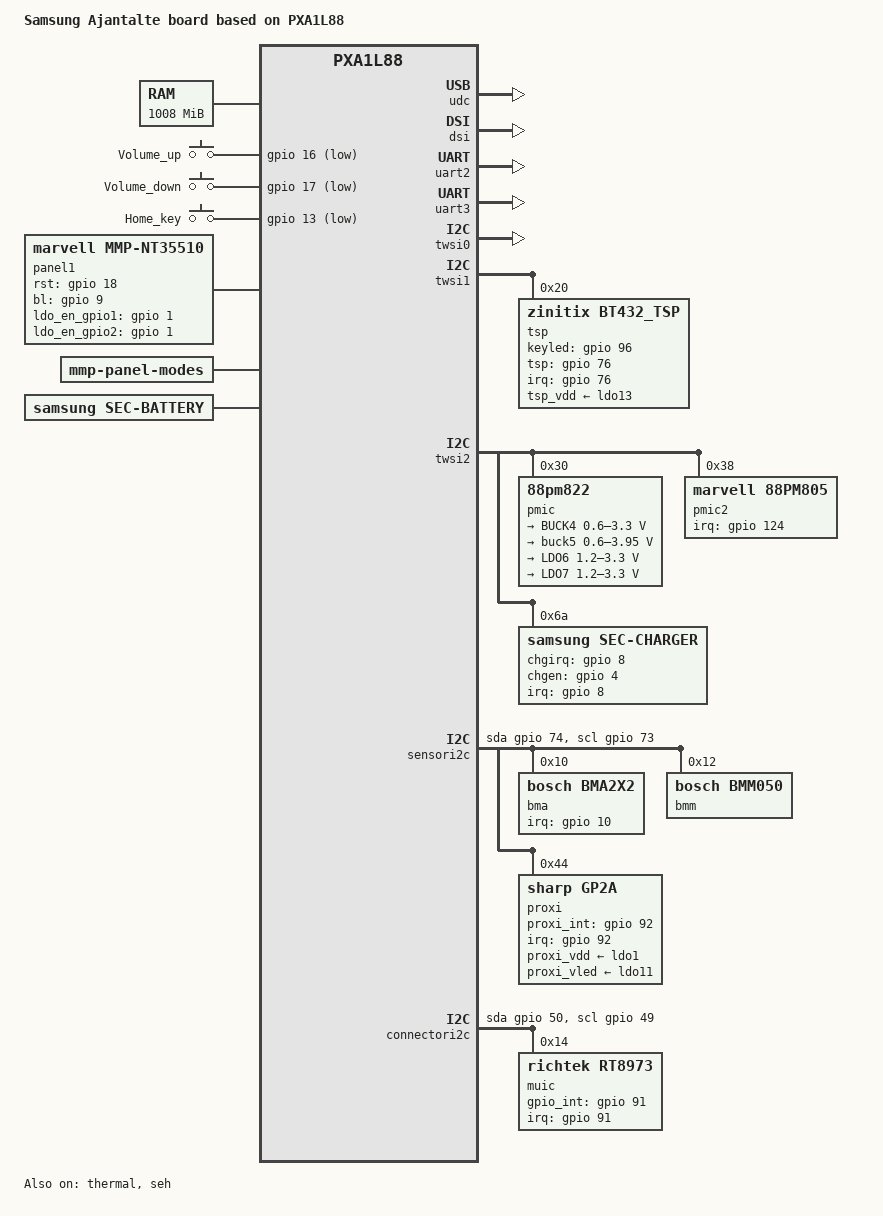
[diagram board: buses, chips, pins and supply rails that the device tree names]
/* arch/arm/boot/dts/pxall88-ajantalte-r02.dts
 * Copyright (C) 2014 Samsung Electronics Co, Ltd.
 *
 * Based on arch/arm/boot/dts/pxa1L88dkb.dts
 * Author: Shankar Bandal <shankar.b@samsung.com>
 *
 * This software is licensed under the terms of the GNU General Public
 * License version 2, as published by the Free Software Foundation,
 * and may be copied, distributed, and modified under those terms.
 *
 * This program is distributed in the hope that it will be useful,
 * but WITHOUT ANY WARRANTY; without even the implied warranty of
 * MERCHANTABILITY or FITNESS FOR A PARTICULAR PURPOSE. See the
 * GNU General Public License for more details.
 */

/dts-v1/;
/memreserve/ 0x09000000 0x01000000;	/* ION (16MB)*/

#include "sec-pxa1x88-pinfunc.h"
#include "pxa1088.dtsi"
#include "sec-machtypes.h"
#include <dt-bindings/gpio/gpio.h>
#include <dt-bindings/interrupt-controller/irq.h>
#include <dt-bindings/mmc/pxa_sdhci.h>

/ {
	model = "Samsung Ajantalte board based on PXA1L88";
	compatible = "mrvl,pxa1L88-sec", "mrvl,pxa1L88";
	pxa,rev-id = <MACH_TYPE_AJANTALTE 2>;

	aliases {
		i2c5 = &sensori2c;
		i2c7 = &connectori2c;
	};

	memory {
		/* Memory Banks
		 * Bank 1 : Base 0x01000000
		 *	    Size 496 MB
		 * Bank 2 : Base 0x20000000
		 *	    Size 512 MB
		 */
		reg = <0x01000000 0x1F000000 0x20000000 0x20000000>;
	};

	gpio-keys {
		compatible = "gpio-keys";
		#address-cells = <1>;
		#size-cells = <0>;
		pinctrl-names = "default";
		pinctrl-0 = <&gpio_keypad_func1 &gpio_keypad_func2>;
		status = "okay";

		volume-up {
			label = "Volume_up";
			gpios = <&gpio 16 GPIO_ACTIVE_LOW>;
			linux,code = <115>; /* KEY_VOLUMEUP */
			debounce-interval = <30>;
		};
		volume-down {
			label = "Volume_down";
			gpios = <&gpio 17 GPIO_ACTIVE_LOW>;
			linux,code = <114>;/* KEY_VOLUMEDOWN */
			debounce-interval = <30>;
		};
		home-key {
			label = "Home_key";
			gpios = <&gpio 13 GPIO_ACTIVE_LOW>;
			linux,code = <102>;/* HOME_KEY */
			debounce-interval = <30>;
			gpio-key,wakeup;
		};
	};

	soc {
		ddr@c0100000 {  /* DDR memory controller */
			status = "okay";
		};

		disp_clk_parent { /* Parent clock for disp */
			clock-name = "pll1_624";
		};

		axi@d4200000 {	/* AXI */
			coda7542: coda7542@d420d000 {
				marvell,sram-internal = <1>;
				marvell,nv21_support = <1>;
				status = "okay";
			};

			usbphy: usbphy@d4207000 {
				status = "okay";
			};

			udc: udc@d4208100 {
				status = "okay";
			};

			dsi: dsi@d420b800 {
				marvell,phy-name = "mmp_dsi1";
				marvell,plat-path-name = "mmp_pnpath";
				marvell,dsi-lanes = <2>;
				marvell,burst-mode = <2>;
				marvell,hbp-en;
				marvell,hfp-en;
				status = "okay";
			};

			disp: disp@d420b000 {
				marvell,disp-name = "disp_name";
				marvell,path-num = <2>;
				marvell,master-path = "mmp_pnpath";
				marvell,slave-path = "mmp_tvpath";
				status = "okay";
				path1 {
					marvell,path-name = "mmp_pnpath";
					marvell,overlay-num = <2>;
					marvell,overlay-table = <0>, <1>;
					marvell,output-type = <1>;
					marvell,path-config = <0x10>;
					marvell,link-config = <0x1>;

				};
				path2 {
					marvell,path-name = "mmp_tvpath";
					marvell,overlay-num = <2>;
					marvell,overlay-table = <2>, <3>;
					marvell,output-type = <1>;
					marvell,path-config = <0x10>;
					marvell,link-config = <0x1>;

				};
			};

			fb0: fbbase {
				marvell,fb-name = "mmp-fb";
				marvell,path-name = "mmp_pnpath";
				marvell,overlay-id = <1>;
				marvell,default-pixfmt = <0x108>;
				marvell,buffer-num = <3>;
				marvell,fb-mem = <0xb000000>;
				status = "okay";
			};

			fb1: fboverlay@0 {
				marvell,fb-name = "mmp-fb-overlay.0";
				marvell,path-name = "mmp_pnpath";
				marvell,overlay-id = <0>;
				status = "okay";
			};

			fb2: fboverlay@1 {
				marvell,fb-name = "mmp-fb-overlay.1";
				marvell,path-name = "mmp_tvpath";
				marvell,overlay-id = <3>;
				status = "okay";
			};

			fb3: fboverlay@2 {
				marvell,fb-name = "mmp-fb-overlay.2";
				marvell,path-name = "mmp_tvpath";
				marvell,overlay-id = <2>;
				status = "okay";
			};

			/* eMMC */
			sdh3: sdh@d4281000 {
				pinctrl-names = "default";
				pinctrl-0 = <&sdh3_pmx_func1 &sdh3_pmx_func2>;
				bus-width = <8>;
				non-removable;
				marvell,sdh-pm-runtime-en;
				marvell,sdh-quirks = <(
						SDHCI_QUIRK_BROKEN_ADMA |
						SDHCI_QUIRK_BROKEN_CARD_DETECTION
						)>;
				marvell,sdh-quirks2 = <(SDHCI_QUIRK2_BUS_CLK_GATE_ENABLED)>;
				marvell,sdh-host-caps = <(MMC_CAP_1_8V_DDR)>;
				marvell,sdh-host-caps2 = <(MMC_CAP2_DISABLE_BLK_ASYNC)>;
				marvell,sdh-flags = <(
						PXA_FLAG_SD_8_BIT_CAPABLE_SLOT |
						PXA_FLAG_ENABLE_CLOCK_GATING |
						PXA_FLAG_TX_SEL_BUS_CLK
					      )>;
				/* prop "sdh-dtr-data": <timing preset_rate src_rate tx_delay rx_delay> */
				marvell,sdh-dtr-data = <PXA_MMC_TIMING_LEGACY PXA_SDH_DTR_26M PXA_SDH_DTR_104M 0 0>,
						<PXA_MMC_TIMING_MMC_HS PXA_SDH_DTR_52M PXA_SDH_DTR_104M 0 0>,
						<PXA_MMC_TIMING_UHS_DDR50 PXA_SDH_DTR_52M PXA_SDH_DTR_104M 0 0>,
						<PXA_MMC_TIMING_MAX PXA_SDH_DTR_PS_NONE PXA_SDH_DTR_104M 0 0>;
				status = "okay";
			};

			/* SD card */
			sdh1: sdh@d4280000 {
				pinctrl-names = "default";
				pinctrl-0 = <&sdh1_pmx_func1 &sdh1_pmx_func2 &sdh1_pmx_func3 &sdh1_pmx_func4>;
				/*vqmmc-supply	= <&ldo3>;*/
				vmmc-supply	= <&ldo4>;
				cd-gpios = <&gpio 90 0>;
				cd-inverted;
				bus-width = <4>;
				wp-inverted;
				marvell,sdh-pm-runtime-en;
				marvell,sdh-host-caps-disable = <(MMC_CAP_UHS_SDR104)>;
				marvell,sdh-quirks = <(
						SDHCI_QUIRK_INVERTED_WRITE_PROTECT |
						SDHCI_QUIRK_BROKEN_CARD_DETECTION
						)>;
				marvell,sdh-quirks2 = <(SDHCI_QUIRK2_BUS_CLK_GATE_ENABLED)>;
				marvell,sdh-flags = <(
						PXA_FLAG_TX_SEL_BUS_CLK |
						PXA_FLAG_ENABLE_CLOCK_GATING
					      )>;
				/* prop "sdh-dtr-data": <timing preset_rate src_rate tx_delay rx_delay> */
				marvell,sdh-dtr-data = <PXA_MMC_TIMING_LEGACY PXA_SDH_DTR_26M PXA_SDH_DTR_104M 0 0>,
						<PXA_MMC_TIMING_SD_HS PXA_SDH_DTR_52M PXA_SDH_DTR_104M 0 0>,
						<PXA_MMC_TIMING_UHS_DDR50 PXA_SDH_DTR_52M PXA_SDH_DTR_104M 0 0>,
						<PXA_MMC_TIMING_MAX PXA_SDH_DTR_PS_NONE PXA_SDH_DTR_104M 0 0>;
				status = "disabled";
			};

			squ: squ@d42a0800 {
				compatible = "marvell,pxa910-squ";
				reg = <0xd42a0800 0x100>;
				interrupts = <0 46 0x4>;
				#dma-cells = <1>;
				asram = <&sram>;
			};

			vpu-devfreq {
				status = "okay";
			};
			geu: geu {
				status = "okay";
			};
		};

		apb@d4000000 {
			pdma0: pdma@d4000000 {
				status = "okay";
			};

			uart2: uart@d4017000 {
				pinctrl-names = "default", "sleep";
				pinctrl-0 = <&uart2_pmx_func1 &uart2_pmx_func2>;
				pinctrl-1 = <&uart2_pmx_func1_sleep &uart2_pmx_func2>;
				edge-wakeup-gpio = <47>; /* GPIO47: UART rx pin */
				status = "okay";
			};

			uart3: uart@d4018000 {
				pinctrl-names = "default";
				pinctrl-0 = <&uart3_pmx_func>;
				status = "okay";
			};

			edgewakeup: edgewakeup@d4019800 {
				status = "ok";
			};

			rtc: rtc@d4010000 {
				status = "okay";
			};

			thermal: thermal@d4013200 {
				compatible = "marvell,pxa-thermal";
				reg = <0xd4013200 0x50>;
				interrupts = <0 60 0x4>;
				trigger_levels_count = <4>;
				type = <2>;
				status = "ok";
			};

			watchdog: watchdog@d4080000 {
				status = "okay";
			};

			ssp_dai1: pxa-ssp-dai@1 {
				compatible = "mrvl,pxa-ssp-dai";
				reg = <0x1 0x0>;
				port = <&ssp1>;
				pinctrl-names = "default","ssp";
				pinctrl-0 = <&i2s_gpio>;
				pinctrl-1 = <&i2s_func>;
				ssp-gpio = <&gpio 21 0 &gpio 22 0 &gpio 23 0 &gpio 24 0>;
				dmas = <&squ 1
					&squ 0>;
				dma-names = "rx", "tx";
				asram = <&sram>;
				platform_driver_name = "tdma_platform";
				burst_size = <4>;
				playback_period_bytes = <4096>;
				playback_buffer_bytes = <20480>;
				capture_period_bytes = <4096>;
				capture_buffer_bytes = <20480>;
			};

			ssp_dai4: pxa-ssp-dai@4 {
				compatible = "mrvl,pxa-ssp-dai";
				reg = <0x4 0x0>;
				port = <&ssp4>;
				pinctrl-names = "default","ssp";
				pinctrl-0 = <&gssp_gpio>;
				pinctrl-1 = <&gssp_func>;
				ssp-gpio = <&gpio 25 0 &gpio 26 0 &gpio 27 0 &gpio 28 0>;
				dmas = <&pdma0 6 0
					&pdma0 7 0>;
				dma-names = "rx", "tx";
				platform_driver_name = "pdma_platform";
				burst_size = <8>;
				playback_period_bytes = <4096>;
				playback_buffer_bytes = <131072>;
				capture_period_bytes = <4096>;
				capture_buffer_bytes = <131072>;
			};

			gpio: gpio@d4019000 {
				status = "okay";
				/*
				 * In theorical, some gpios could be routed to
				 * multiple pins. So define the gpio-ranges in
				 * board file, not silicon file.
				 */
				gcb0: gpio@d4019000 {
					/* gpio offset, pin offset, nr pins */
					gpio-ranges = <&pmx 0 55 32>;
				};
				gcb1: gpio@d4019004 {
					gpio-ranges = <&pmx 0 87 23>;
				};
				gcb2: gpio@d4019008 {
					gpio-ranges = <&pmx 3 110 29>;
				};
				gcb3: gpio@d4019100 {
					gpio-ranges = <&pmx 0 139 3  &pmx 28 52 1>;
				};
			};

			pmx: pinmux@d401e000 {
				/* pin base, nr pins & gpio function */
				pinctrl-single,gpio-range = <
					/*
					 * GPIO number is hardcoded for range at here.
					 * In gpio chip, GPIO number is not hardcoded for range.
					 * Since one gpio pin may be routed to multiple pins,
					 * define these gpio range in pxa910-dkb.dts not pxa910.dtsi.
					 */
					&range 55 55 0	/* GPIO0 ~ GPIO54 */
					&range 110 32 0 /* GPIO67 ~ GPIO98 */
					&range 52 1 0	/* GPIO124 */
				>;

				/* MFP_PULL_UP | MFP_LPM_FLOAT */
				sdh1_pmx_func1: sdh1_pmx_func1 {
					pinctrl-single,pins = <
						MMC1_DAT7 AF0
						MMC1_DAT6 AF0
						MMC1_DAT5 AF0
						MMC1_DAT4 AF0
						MMC1_WP AF0
					>;
					DS_MEDIUM;PULL_UP;EDGE_NONE;LPM_FLOAT;
				};

				/* no pull, no LPM */
				sdh1_pmx_func2: sdh1_pmx_func2 {
					pinctrl-single,pins = <
						MMC1_DAT3 AF0
						MMC1_DAT2 AF0
						MMC1_DAT1 AF0
						MMC1_DAT0 AF0
						MMC1_CMD AF0
					>;
					MFP_DEFAULT;
				};

				/* MFP_LPM_DRIVE_LOW */
				sdh1_pmx_func3: sdh1_pmx_func3 {
					pinctrl-single,pins = <
						MMC1_CLK AF0
					>;
					MFP_LPM_DRIVE_LOW;
				};

				/* MFP_PULL_HIGH */
				sdh1_pmx_func4: sdh1_pmx_func4 {
					pinctrl-single,pins = <
						MMC1_CD AF0
					>;
					DS_MEDIUM;PULL_HIGH;EDGE_NONE;LPM_NONE;
				};

				/* no pull, no LPM */
				sdh3_pmx_func1: sdh3_pmx_func1 {
					pinctrl-single,pins = <
						ND_IO7 AF1
						ND_IO6 AF1
						ND_IO5 AF1
						ND_IO4 AF1
						ND_IO3 AF1
						ND_IO2 AF1
						ND_IO1 AF1
						ND_IO0 AF1
						ND_CLE_SM_OEN AF1
						SM_BEN0 AF2
					>;
					DS_MEDIUM;PULL_UP;EDGE_NONE;LPM_FLOAT;
				};

				/* MFP_LPM_DRIVE_LOW */
				sdh3_pmx_func2: sdh3_pmx_func2 {
					pinctrl-single,pins = <
						SM_SCLK AF1
					>;
					MFP_LPM_DRIVE_LOW;
				};


				uart2_pmx_func1: uart2_pmx_func1 {
					pinctrl-single,pins = <
						GPIO47 AF6
					>;
					MFP_PULL_UP;
				};

				uart2_pmx_func2: uart2_pmx_func2 {
					pinctrl-single,pins = <
						GPIO48 AF6
					>;
					MFP_PULL_UP;
				};

				uart2_pmx_func1_sleep: uart2_pmx_func1_sleep {
					pinctrl-single,pins = <
						GPIO47 AF6
					>;
					MFP_PULL_UP;
				};

				uart3_pmx_func: uart3_pmx_func {
					pinctrl-single,pins = <
						GPIO45 AF1
						GPIO46 AF1
					>;
					MFP_DEFAULT;
				};

				i2s_func: i2s_func {
					pinctrl-single,pins = <
						GPIO21 AF1
						GPIO22 AF1
						GPIO23 AF1
						GPIO24 AF1
					>;
					MFP_PULL_UP;

				};

				i2s_gpio: i2s_gpio {
					pinctrl-single,pins = <
						GPIO21 AF0
						GPIO22 AF0
						GPIO23 AF0
						GPIO24 AF0
					>;
					MFP_PULL_UP;
				};

				/* no pull, no LPM */
				dvc_pmx_func: dvc_pmx_func {
					pinctrl-single,pins = <
						GPIO43 AF6
						GPIO44 AF6
					>;
					MFP_DEFAULT;
				};

				gssp_func: gssp_func {
					pinctrl-single,pins = <
						GPIO25 AF1
						GPIO26 AF1
						GPIO27 AF1
						GPIO28 AF1
					>;
					MFP_PULL_UP;
				};

				gssp_gpio: gssp_gpio {
					pinctrl-single,pins = <
						GPIO25 AF0
						GPIO26 AF0
						GPIO27 AF0
						GPIO28 AF0
					>;
					MFP_PULL_UP;
				};

				/* MFP_LPM_FLOAT */
				lcd_pmx: lcd_pmx {
					pinctrl-single,pins = <
						GPIO9 AF0
						>;
					DS_MEDIUM;PULL_UP;EDGE_NONE;LPM_DRIVE_LOW;
				};

				lcd_pmx1: lcd_pmx1 {
					pinctrl-single,pins = <
						GPIO18 AF0
						>;
					DS_MEDIUM;PULL_FLOAT;EDGE_NONE;LPM_DRIVE_LOW;
				};

				lcd_pmx2: lcd_pmx2 {
					pinctrl-single,pins = <
						GPIO1 AF0
						>;
					DS_MEDIUM;PULL_UP;EDGE_NONE;LPM_DRIVE_HIGH;
				};

				twsi1_pmx_func: twsi1_pmx_func {
					pinctrl-single,pins = <
						GPIO87 AF5
						GPIO88 AF5
					>;
					DS_MEDIUM;PULL_UP;EDGE_NONE;LPM_FLOAT;
				};

				tsp_gpio_func1: tsp_gpio_func1 {
					pinctrl-single,pins = <
						GPIO96 AF0
					>;
					DS_MEDIUM;PULL_DOWN;EDGE_NONE;LPM_DRIVE_LOW;
				};

				tsp_gpio_func2: tsp_gpio_func2 {
					pinctrl-single,pins = <
						GPIO76 AF0
					>;
					DS_MEDIUM;PULL_UP;EDGE_NONE;LPM_DRIVE_LOW;
				};

				gpio_keypad_func1: gpio_keypad_func1 {
					pinctrl-single,pins = <
						GPIO13 AF0
					>;
					MFP_PULL_UP;
				};

				gpio_keypad_func2: gpio_keypad_func2 {
					pinctrl-single,pins = <
						GPIO16 AF0
						GPIO17 AF0
					>;
					DS_MEDIUM;PULL_UP;EDGE_NONE;LPM_FLOAT;
				};

				sensors_i2c_pmx: sensors_i2c_pmx {
					pinctrl-single,pins = <
						GPIO74 AF0
						GPIO73 AF0
					>;
					DS_MEDIUM;PULL_UP;EDGE_NONE;LPM_FLOAT;
				};

				connector_i2c_pmx: connector_i2c_pmx {
					pinctrl-single,pins = <
						GPIO50 AF0
						GPIO49 AF0
					>;
					DS_MEDIUM;PULL_UP;EDGE_NONE;LPM_FLOAT;
				};

				muic_int_pmx: muic_int_pmx {
					pinctrl-single,pins = <
						GPIO91 AF0
					>;
					DS_MEDIUM;PULL_UP;EDGE_NONE;LPM_FLOAT;
				};

				muic_remove_pmx: muic_remove_pmx {
					pinctrl-single,pins = <
						GPIO91 AF0
					>;
					DS_MEDIUM;PULL_UP;EDGE_BOTH;LPM_FLOAT;
				};

				proxi_gpio_pmx: proxi_gpio_pmx {
					pinctrl-single,pins = <
						GPIO92 AF0
					>;
					DS_MEDIUM;PULL_UP;EDGE_NONE;LPM_FLOAT;
				};

				accel_gpio_pmx: accel_gpio_pmx {
					pinctrl-single,pins = <
						GPIO10 AF0
					>;
					DS_MEDIUM;PULL_DOWN;EDGE_NONE;LPM_FLOAT;
				};

				accel_suspend_pmx: accel_suspend_pmx {
                                        pinctrl-single,pins = <
                                                GPIO10 AF0
                                        >;
                                        DS_MEDIUM;PULL_DOWN;EDGE_BOTH;LPM_FLOAT;
                                };
				gpio_charger_func1: gpio_charger__func1 {
					pinctrl-single,pins = <
						GPIO8 AF0
					>;
					MFP_PULL_UP;
				};
				gpio_charger_func2: gpio_charger_func2 {
					pinctrl-single,pins = <
						GPIO4 AF0
					>;
					DS_MEDIUM;PULL_FLOAT;EDGE_NONE;LPM_FLOAT;
				};
			};

			twsi0: i2c@d4011000 {
				status = "okay";

			};

			twsi1: i2c@d4010800 {
				pinctrl-names = "default";
				pinctrl-0 = <&twsi1_pmx_func>;
				status = "okay";

				tsp@20 {
					compatible = "zinitix,bt432_tsp";
					pinctrl-names = "default";
					pinctrl-0 = <&tsp_gpio_func1 &tsp_gpio_func2>;
					reg = <0x20>;
					interrupt-parent = <&gpio>;
					interrupts = <76 0x2>;
					bt432,x_resolution = /bits/ 16 <480>;
					bt432,y_resolution = /bits/ 16 <800>;
					bt432,orientation = /bits/ 8 <0>;
					bt432,page_size = /bits/ 16 <64>;
					keyled_gpio = <&gpio 96 0>;
					tsp_gpio = <&gpio 76 0>;
					tsp_vdd_supply_type = <1>;
					tsp_vdd-supply = <&ldo13>;
				};
			};

			twsi2: i2c@d4037000 {
				status = "okay";

				pmic: 88pm822@30 {
					reg = <0x30>;
					interrupts = <0 4 0x4>;
					interrupt-parent = <&gic>;
					dvc {
						compatible = "marvell,88pm8xx-dvc";
						/* pm822 dvc affect buck1/3/5, affected 32bit = (1 << 4) | (1 << 2) | (1 << 0)*/
						dvc-affected-buckbits = <21>;
						pinctrl-names = "default";
						pinctrl-0 = <&dvc_pmx_func>;
					};
				};
				pmic2: 88pm805@38 {
					compatible = "marvell,88pm805";
					reg = <0x38>;
					interrupt-parent = <&gpio>;
					interrupts = <124 0x1>;
					marvell,88pm805-irq-write-clear;
				};
				sec-charger@6A {
					compatible = "samsung,sec-charger";
					pinctrl-names = "default";
					pinctrl-0 = <&gpio_charger_func1 &gpio_charger_func2>;
					reg = <0x6A>;
					interrupt-parent = <&gpio>;
					interrupts = <8 0x3>;
					chgirq-gpio = <&gpio 8 0>;
					chgen-gpio = <&gpio 4 0>;
					chg-irq-attr = <IRQ_TYPE_EDGE_BOTH>;
					chg-float-voltage = <4350>;
				};
			};

			acipc: acipc@d401d000 {
				status = "okay";
			};

			seh: seh@d4080000 {
				compatible = "mrvl,seh";
				reg = <0xd4080000 0x100>;
				interrupts = <0 32 0x4>;
				interrupt-names = "CP_TIMER2_3";
				watchdog-type = <1>; /* soc timer */
				timer-num = <2>; /* timer num */
				match-num = <0>; /* match num */
				status = "okay";
			};

		};

		sound {
			compatible = "marvell,pxa-88pm805-snd-card";
			ssp-controllers = <&ssp_dai1 &ssp_dai4>;
		};

		ramoops {
			status = "okay";
		};
		sec-log {
			compatible = "sec-log";
			status = "okay";
		};
	};

	sensori2c: i2c@0 {
		compatible = "i2c-gpio";
		gpios = <&gpio 74 0
			 &gpio 73 0>;

		i2c-gpio,sda-open-drain;
		i2c-gpio,scl-open-drain;
		i2c-gpio,delay-us = <3>;
		i2c-gpio,timeout-ms = <100>;

		#address-cells = <1>;
		#size-cells = <0>;
		pinctrl-names = "default";
		pinctrl-0 = <&sensors_i2c_pmx>;

		status = "okay";

		bma@10 {
			compatible = "bosch,bma2x2";
			pinctrl-names = "default","sleep";
			pinctrl-0 = <&accel_gpio_pmx>;
			pinctrl-1 = <&accel_suspend_pmx>;
			reg = <0x10>;
			interrupt-parent = <&gpio>;
			interrupts = <10 IRQ_TYPE_EDGE_RISING>;
		};

		bmm@12 {
			compatible = "bosch,bmm050";
			reg = <0x12>;
		};

		proxi@44 {
                        compatible = "sharp,gp2a";
                        reg = <0x44>;

			pinctrl-names = "default";
                        pinctrl-0 = <&proxi_gpio_pmx>;

			interrupt-parent = <&gpio>;
                        interrupts = <92 IRQ_TYPE_EDGE_FALLING>;
                        proxi_int_gpio = <&gpio 92 GPIO_ACTIVE_HIGH>;

			gp2a,vdd_supply_type = <1>;
			gp2a,vdd_regulator_volt = <3100000>;
                        proxi_vdd-supply = <&ldo1>;

			gp2a,vled_supply_type = <1>;
			gp2a,vled_regulator_volt = <3300000>;
			proxi_vled-supply = <&ldo11>;
                };
	};

	connectori2c: i2c@7 {

		compatible = "i2c-gpio";
		gpios = <&gpio 50 0
			 &gpio 49 0>;

		i2c-gpio,sda-open-drain;
		i2c-gpio,scl-open-drain;
		i2c-gpio,delay-us = <3>;
		i2c-gpio,timeout-ms = <100>;

		#address-cells = <1>;
		#size-cells = <0>;
		pinctrl-names = "default";
		pinctrl-0 = <&connector_i2c_pmx>;

		status = "okay";

		muic: muic@14 {
			compatible = "richtek,rt8973";
			pinctrl-names = "default","remove";
			pinctrl-0 = <&muic_int_pmx>;
			pinctrl-1 = <&muic_remove_pmx>;
			reg = <0x14>;
                        interrupt-parent = <&gpio>;
			interrupts = <91 0x1>;
			richtek,gpio_int = <&gpio 91 0>;
		};
	};

	ion {
		marvell,ion-nr = <2>;
		status = "okay";
		heap1 {
			marvell,ion-name = "carveout_heap";
			marvell,ion-type = <2>;
			marvell,ion-id = <2>;
			marvell,ion-base = <0x09000000>;
			marvell,ion-size = <0x01000000>;
		};

		heap2 {
			marvell,ion-name = "system_heap";
			marvell,ion-type = <0>;
			marvell,ion-id = <0>;
		};
	};
	panel1: nt35510 {
			compatible = "marvell,mmp-nt35510";
			pinctrl-names = "default";
			pinctrl-0 = <&lcd_pmx &lcd_pmx1 &lcd_pmx2>;
			marvell,path-name = "mmp_pnpath";
			rst-gpio = <&gpio 18 0>;
			bl-gpio = <&gpio 9 0>;
			iovdd-supply-type = <0>;
			ldo_en_gpio1 = <&gpio 1 0>;
			avdd-supply-type = <0>;
			ldo_en_gpio2 = <&gpio 1 0>;
			status = "okay";
			};
	panel-modes {
		/*
		 * xres and yres are added for calculating
		 * framebuffer size.
		 * If this node is not added, it will take default
		 * size defined in  drivers/video/mmp/setup.c
		 */
		compatible = "mmp-panel-modes";
		xres = <480>;
		yres = <800>;
	};
	battery {
		compatible = "samsung,sec-battery";
		status = "okay";

		temp-check-count = <1>;
		temp-high-threshold-event = <600>;
		temp-high-recovery-event = <400>;
		temp-low-threshold-event = <(-200)>;
		temp-low-recovery-event = <0>;
		temp-high-threshold-normal = <600>;
		temp-high-recovery-normal = <400>;
		temp-low-threshold-normal = <(-200)>;
		temp-low-recovery-normal = <0>;
		temp-high-threshold-lpm = <600>;
		temp-high-recovery-lpm = <400>;
		temp-low-threshold-lpm = <(-200)>;
		temp-low-recovery-lpm = <0>;
		chg-polarity-full-check = <1>;
		full-condition-soc = <100>;
		full-condition-ocv = <4300>;
		recharge-condition-soc = <98>;
		recharge-condition-avgvcell = <4280>;
		recharge-condition-vcell = <4300>;
		charging-total-time = <21600>;
		recharging-total-time = <5400>;
		charging-reset-time = <600>;
		monitor-initial-count = <3>;
		check-adc-max = <600>;
		check-adc-min = <50>;
		check-count = <3>;
		full-check-count = <1>;
		event_waiting_time = <60>;
		adc-check-count = <5>;
		event-waiting-time = <60>;
		bat-irq-attr = <IRQ_TYPE_EDGE_BOTH>;
		bat-polarity-ta-nconnected = <1>;
		cable-check = <0>;
		bat-check = <0>;
		temp-check = <0>;
		temp-amb-check = <0>;
		full-check = <0>;

	};
	sec-fuelgauge {
		capacity-max = <1000>;
		capacity-max-margin = <30>;
		capacity-min = <0>;
		fg-irq-attr = <IRQ_TYPE_EDGE_FALLING>;
		fuel-alert-soc = <1>;
	};

};
/include/ "88pm8xx.dtsi"
&pmic {
	regulators {
		BUCK4 {
			regulator-compatible = "88PM800-BUCK4";
			regulator-min-microvolt = <600000>;
			regulator-max-microvolt = <3300000>;
			regulator-boot-on;
			regulator-always-on;
		};
		buck5: BUCK5 {
			regulator-compatible = "88PM800-BUCK5";
			regulator-min-microvolt = <600000>;
			regulator-max-microvolt = <3950000>;
			regulator-boot-on;
			regulator-always-on;
		};
		LDO6 {
			regulator-compatible = "88PM800-LDO6";
			regulator-min-microvolt = <1200000>;
			regulator-max-microvolt = <3300000>;
		};
		LDO7 {
			regulator-compatible = "88PM800-LDO7";
			regulator-min-microvolt = <1200000>;
			regulator-max-microvolt = <3300000>;
			regulator-boot-on;
			regulator-always-on;
		};
	};
};

